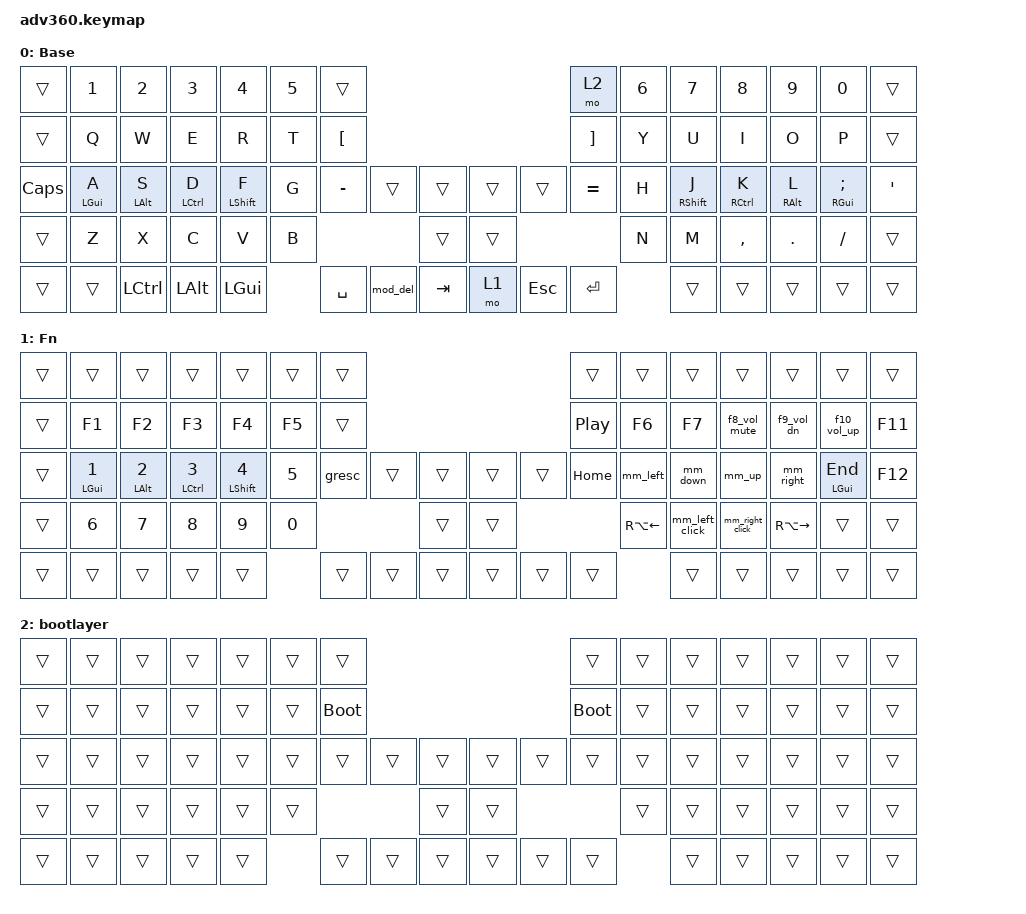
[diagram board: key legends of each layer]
#include <dt-bindings/zmk/stp.h>
#include <behaviors.dtsi>
#include <dt-bindings/zmk/keys.h>
#include <dt-bindings/zmk/pointing.h>

/ {
    behaviors {
        #include "macros.dtsi"
      #include "version.dtsi"

        hm: homerow_mods {
            compatible = "zmk,behavior-hold-tap";
            label = "HOMEROW_MODS";
            #binding-cells = <2>;
            tapping-term-ms = <250>;
            flavor = "tap-preferred";
            bindings = <&kp>, <&kp>;

            quick-tap-ms = <250>;
            hold-trigger-on-release;
        };

        hm_shift: hm_shift {
            compatible = "zmk,behavior-hold-tap";
            label = "HM_SHIFT";
            #binding-cells = <2>;
            tapping-term-ms = <150>;
            flavor = "tap-preferred";
            bindings = <&kp>, <&kp>;

            quick-tap-ms = <150>;
        };

        mm_left_inner: mm_left_inner {
            compatible = "zmk,behavior-mod-morph";
            label = "MM_LEFT_INNER";
            bindings = <&kp LEFT>, <&mmv MOVE_X(-300)>;

            #binding-cells = <0>;
            mods = <(MOD_LGUI)>;
        };

        mm_right_inner: mm_right_inner {
            compatible = "zmk,behavior-mod-morph";
            label = "MM_RIGHT_INNER";
            bindings = <&hm RALT RIGHT>, <&mmv MOVE_X(300)>;

            #binding-cells = <0>;
            mods = <(MOD_LGUI)>;
        };

        mm_up_inner: mm_up_inner {
            compatible = "zmk,behavior-mod-morph";
            label = "MM_UP_INNER";
            bindings = <&hm RCTRL UP_ARROW>, <&mmv MOVE_Y(-300)>;

            #binding-cells = <0>;
            mods = <(MOD_LGUI)>;
        };

        mm_down_inner: mm_down_inner {
            compatible = "zmk,behavior-mod-morph";
            label = "MM_DOWN_INNER";
            bindings = <&hm_shift RIGHT_SHIFT DOWN_ARROW>, <&mmv MOVE_Y(300)>;

            #binding-cells = <0>;
            mods = <(MOD_LGUI)>;
        };

        mm_left: mm_left {
            compatible = "zmk,behavior-mod-morph";
            label = "MM_LEFT";
            bindings = <&kp LEFT>, <&mm_left_inner>;

            #binding-cells = <0>;
            mods = <(MOD_LALT)>;
        };

        mm_right: mm_right {
            compatible = "zmk,behavior-mod-morph";
            label = "MM_RIGHT";
            bindings = <&hm RALT RIGHT>, <&mm_right_inner>;

            #binding-cells = <0>;
            mods = <(MOD_LALT)>;
        };

        mm_up: mm_up {
            compatible = "zmk,behavior-mod-morph";
            label = "MM_UP";
            bindings = <&hm RCTRL UP_ARROW>, <&mm_up_inner>;

            #binding-cells = <0>;
            mods = <(MOD_LALT)>;
        };

        mm_down: mm_down {
            compatible = "zmk,behavior-mod-morph";
            label = "MM_DOWN";
            bindings = <&hm_shift RIGHT_SHIFT DOWN_ARROW>, <&mm_down_inner>;

            #binding-cells = <0>;
            mods = <(MOD_LALT)>;
        };

        f9_vol_dn: f9_vol_dn {
            compatible = "zmk,behavior-mod-morph";
            label = "F9_VOL_DN";
            bindings = <&kp F9>, <&kp C_VOLUME_DOWN>;

            #binding-cells = <0>;
            mods = <(MOD_LCTL|MOD_RCTL)>;
        };

        f10_vol_up: f10_vol_up {
            compatible = "zmk,behavior-mod-morph";
            label = "F10_VOL_UP";
            bindings = <&kp F10>, <&kp C_VOLUME_UP>;

            #binding-cells = <0>;
            mods = <(MOD_LCTL|MOD_RCTL)>;
        };

        f8_vol_mute: f8_vol_mute {
            compatible = "zmk,behavior-mod-morph";
            label = "F8_VOL_MUTE";
            bindings = <&kp F8>, <&kp C_MUTE>;

            #binding-cells = <0>;
            mods = <(MOD_LCTL|MOD_RCTL)>;
        };

        mm_right_click: mm_right_click {
            compatible = "zmk,behavior-mod-morph";
            label = "MM_RIGHT_CLICK";
            bindings = <&mkp RCLK>, <&kp PAGE_UP>;

            #binding-cells = <0>;
            mods = <(MOD_LSFT|MOD_RSFT)>;
        };

        mm_left_click: mm_left_click {
            compatible = "zmk,behavior-mod-morph";
            label = "MM_LEFT_CLICK";
            bindings = <&mkp LCLK>, <&kp PAGE_DOWN>;

            #binding-cells = <0>;
            mods = <(MOD_LSFT|MOD_RSFT)>;
        };

        mod_del: mod_del {
            compatible = "zmk,behavior-mod-morph";
            label = "MOD_DEL";
            bindings = <&kp BACKSPACE>, <&kp DELETE>;

            #binding-cells = <0>;
            mods = <(MOD_LALT)>;
        };

        mod_braces: mod_braces {
            compatible = "zmk,behavior-mod-morph";
            label = "MOD_BRACES";
            bindings = <&kp LEFT_BRACE>, <&kp RIGHT_BRACE>;

            #binding-cells = <0>;
            mods = <(MOD_LSFT|MOD_RSFT)>;
        };

        mod_paren: mod_paren {
            compatible = "zmk,behavior-mod-morph";
            label = "MOD_PAREN";
            bindings = <&kp LEFT_PARENTHESIS>, <&kp RIGHT_PARENTHESIS>;

            #binding-cells = <0>;
            mods = <(MOD_LSFT|MOD_RSFT)>;
        };
    };

    combos {
        compatible = "zmk,combos";

        combo_home {
            bindings = <&kp GRAVE>;
            key-positions = <56 57>;
        };

        combo_curly {
            bindings = <&mod_braces>;
            key-positions = <55 57>;
        };

        combo_paren {
            bindings = <&mod_paren>;
            key-positions = <55 56>;
        };

        combo_pipe_slash {
            bindings = <&kp BACKSLASH>;
            key-positions = <55 58>;
        };

        combo_quotes {
            bindings = <&kp SINGLE_QUOTE>;
            key-positions = <58 57>;
        };

        cmd-shf-space {
            bindings = <&kp LS(LG(SPACE))>;
            key-positions = <47 50>;
        };

        cmd-ctrl-space {
            bindings = <&kp LG(LC(SPACE))>;
            key-positions = <47 49>;
        };

        cmd-alt-space {
            bindings = <&kp LG(LA(SPACE))>;
            key-positions = <47 48>;
        };
    };

    keymap {
        compatible = "zmk,keymap";

        default_layer {
            display-name = "Base";
            bindings = <
&trans    &kp N1      &kp N2      &kp N3       &kp N4             &kp N5  &trans                                                       &mo 2              &kp N6  &kp N7             &kp N8       &kp N9      &kp N0         &trans
&trans    &kp Q       &kp W       &kp E        &kp R              &kp T   &kp LEFT_BRACKET                                             &kp RIGHT_BRACKET  &kp Y   &kp U              &kp I        &kp O       &kp P          &trans
&kp CAPS  &hm LGUI A  &hm LALT S  &hm LCTRL D  &hm_shift LSHFT F  &kp G   &kp MINUS         &trans    &trans       &trans  &trans      &kp EQUAL          &kp H   &hm_shift RSHFT J  &hm RCTRL K  &hm RALT L  &hm RGUI SEMI  &kp SINGLE_QUOTE
&trans    &kp Z       &kp X       &kp C        &kp V              &kp B                               &trans       &trans                                 &kp N   &kp M              &kp COMMA    &kp DOT     &kp FSLH       &trans
&trans    &trans      &kp LCTRL   &kp LALT     &kp LGUI                   &kp SPACE         &mod_del  &kp TAB      &mo 1   &kp ESCAPE  &kp ENTER                  &trans             &trans       &trans      &trans         &trans
            >;
        };

        fn {
            display-name = "Fn";
            bindings = <
&trans  &trans             &trans        &trans        &trans              &trans        &trans                                      &trans    &trans        &trans          &trans           &trans         &trans            &trans
&trans  &kp F1             &kp F2        &kp F3        &kp F4              &kp F5        &trans                                      &kp C_PP  &kp F6        &kp F7          &f8_vol_mute     &f9_vol_dn     &f10_vol_up       &kp F11
&trans  &hm LGUI NUMBER_1  &hm LALT N2   &hm LCTRL N3  &hm_shift LSHFT N4  &kp NUMBER_5  &gresc  &trans  &trans      &trans  &trans  &kp HOME  &mm_left      &mm_down        &mm_up           &mm_right      &hm LEFT_GUI END  &kp F12
&trans  &kp NUMBER_6       &kp NUMBER_7  &kp N8        &kp NUMBER_9        &kp NUMBER_0                  &trans      &trans                    &kp RA(LEFT)  &mm_left_click  &mm_right_click  &kp RA(RIGHT)  &trans            &trans
&trans  &trans             &trans        &trans        &trans                            &trans  &trans  &trans      &trans  &trans  &trans                  &trans          &trans           &trans         &trans            &trans
            >;
        };

        bootlayer {
            bindings = <
&trans  &trans  &trans  &trans  &trans  &trans  &trans                                           &trans       &trans  &trans  &trans  &trans  &trans  &trans
&trans  &trans  &trans  &trans  &trans  &trans  &bootloader                                      &bootloader  &trans  &trans  &trans  &trans  &trans  &trans
&trans  &trans  &trans  &trans  &trans  &trans  &trans       &trans  &trans      &trans  &trans  &trans       &trans  &trans  &trans  &trans  &trans  &trans
&trans  &trans  &trans  &trans  &trans  &trans                       &trans      &trans                       &trans  &trans  &trans  &trans  &trans  &trans
&trans  &trans  &trans  &trans  &trans          &trans       &trans  &trans      &trans  &trans  &trans               &trans  &trans  &trans  &trans  &trans
            >;
        };
    };
};
